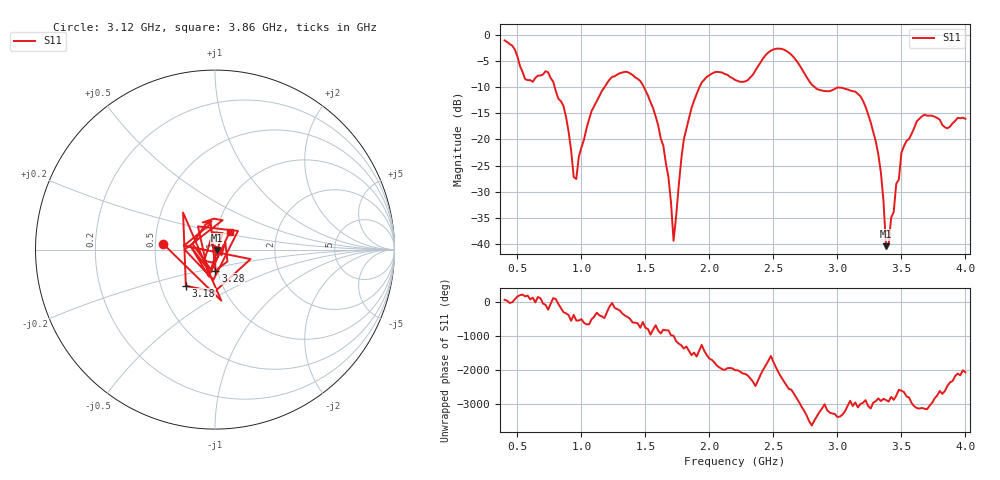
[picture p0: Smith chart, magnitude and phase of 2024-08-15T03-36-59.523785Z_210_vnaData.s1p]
!Created with skrf (http://scikit-rf.org).
# Hz S RI R 50.0
!freq ReS11 ImS11
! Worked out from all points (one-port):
!   181 points, 400 MHz to 4 GHz, reference 50 ohm
!   lowest |S11| = -40.4 dB at 3.38 GHz (marker M1), VSWR 1.02, Z = 50.9 - j0.188 ohm
!   |S11| at or under -10 dB: 791.5 MHz to 1.181 GHz (389.4 MHz wide, 39.5 % of centre); 1.488 GHz to 1.922 GHz (434.3 MHz wide, 25.5 % of centre); 2.823 GHz to end of sweep
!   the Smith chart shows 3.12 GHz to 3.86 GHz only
!   S11 on the Smith chart (normalised r, x): 3.12 GHz: 0.55, +0.04; 3.18 GHz: 0.67, -0.29; 3.28 GHz: 0.98, -0.23; 3.86 GHz: 1.15, +0.23
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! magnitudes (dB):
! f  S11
! 400 MHz  -1.1
! 560 MHz  -8.5
! 740 MHz  -7.2
! 860 MHz  -13.6
! 960 MHz  -27.6
! 1.08 GHz  -14.5
! 1.3 GHz  -7.3
! 1.56 GHz  -14.0
! 1.68 GHz  -27.2
! 1.72 GHz  -39.4
! 1.76 GHz  -28.9
! 1.8 GHz  -20.0
! 1.94 GHz  -9.1
! 2.2 GHz  -8.6
! 2.5 GHz  -2.8
! 2.66 GHz  -4.3
! 2.84 GHz  -10.3
! 3.1 GHz  -10.6
! 3.12 GHz  -10.8
! 3.18 GHz  -11.7
! 3.28 GHz  -18.5
! 3.34 GHz  -26.4
! 3.38 GHz  -40.4
! 3.5 GHz  -22.6
! 3.56 GHz  -19.9
! 3.68 GHz  -15.3
! 3.86 GHz  -17.9
! 4 GHz  -16.1
